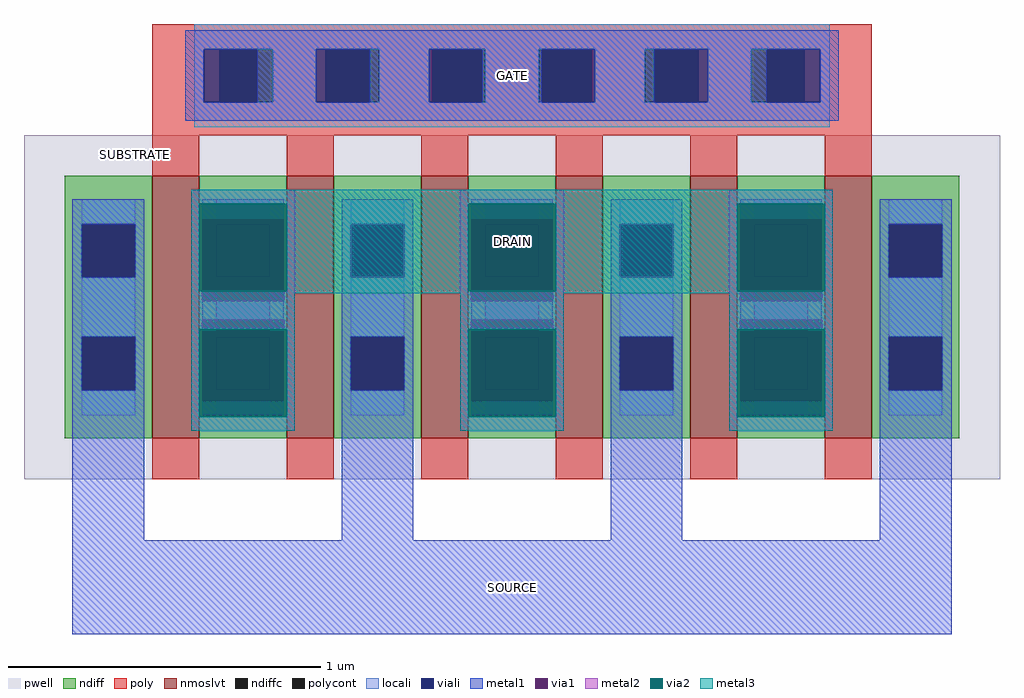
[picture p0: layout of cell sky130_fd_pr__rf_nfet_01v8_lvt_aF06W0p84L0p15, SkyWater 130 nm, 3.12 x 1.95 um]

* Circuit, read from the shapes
.subckt sky130_fd_pr__rf_nfet_01v8_lvt_aF06W0p84L0p15 DRAIN SOURCE GATE SUBSTRATE
XM1 DRAIN GATE SOURCE SUBSTRATE sky130_fd_pr__nfet_01v8_lvt w=0.84 l=0.15 m=6
.ends

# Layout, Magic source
magic
tech sky130A
magscale 1 2
<< pwell >>
rect 10 10 634 230
<< nmoslvt >>
rect 92 36 122 204
rect 178 36 208 204
rect 264 36 294 204
rect 350 36 380 204
rect 436 36 466 204
rect 522 36 552 204
<< ndiff >>
rect 36 173 92 204
rect 36 139 47 173
rect 81 139 92 173
rect 36 101 92 139
rect 36 67 47 101
rect 81 67 92 101
rect 36 36 92 67
rect 122 173 178 204
rect 122 139 133 173
rect 167 139 178 173
rect 122 101 178 139
rect 122 67 133 101
rect 167 67 178 101
rect 122 36 178 67
rect 208 173 264 204
rect 208 139 219 173
rect 253 139 264 173
rect 208 101 264 139
rect 208 67 219 101
rect 253 67 264 101
rect 208 36 264 67
rect 294 173 350 204
rect 294 139 305 173
rect 339 139 350 173
rect 294 101 350 139
rect 294 67 305 101
rect 339 67 350 101
rect 294 36 350 67
rect 380 173 436 204
rect 380 139 391 173
rect 425 139 436 173
rect 380 101 436 139
rect 380 67 391 101
rect 425 67 436 101
rect 380 36 436 67
rect 466 173 522 204
rect 466 139 477 173
rect 511 139 522 173
rect 466 101 522 139
rect 466 67 477 101
rect 511 67 522 101
rect 466 36 522 67
rect 552 173 608 204
rect 552 139 563 173
rect 597 139 608 173
rect 552 101 608 139
rect 552 67 563 101
rect 597 67 608 101
rect 552 36 608 67
<< ndiffc >>
rect 47 139 81 173
rect 47 67 81 101
rect 133 139 167 173
rect 133 67 167 101
rect 219 139 253 173
rect 219 67 253 101
rect 305 139 339 173
rect 305 67 339 101
rect 391 139 425 173
rect 391 67 425 101
rect 477 139 511 173
rect 477 67 511 101
rect 563 139 597 173
rect 563 67 597 101
<< poly >>
rect 92 285 552 301
rect 92 251 135 285
rect 169 251 203 285
rect 237 251 271 285
rect 305 251 339 285
rect 373 251 407 285
rect 441 251 475 285
rect 509 251 552 285
rect 92 230 552 251
rect 92 204 122 230
rect 178 204 208 230
rect 264 204 294 230
rect 350 204 380 230
rect 436 204 466 230
rect 522 204 552 230
rect 92 10 122 36
rect 178 10 208 36
rect 264 10 294 36
rect 350 10 380 36
rect 436 10 466 36
rect 522 10 552 36
<< polycont >>
rect 135 251 169 285
rect 203 251 237 285
rect 271 251 305 285
rect 339 251 373 285
rect 407 251 441 285
rect 475 251 509 285
<< locali >>
rect 119 285 525 301
rect 119 251 125 285
rect 169 251 197 285
rect 237 251 269 285
rect 305 251 339 285
rect 375 251 407 285
rect 447 251 475 285
rect 519 251 525 285
rect 119 235 525 251
rect 47 173 81 189
rect 47 101 81 139
rect 47 51 81 67
rect 133 173 167 189
rect 133 101 167 139
rect 133 51 167 67
rect 219 173 253 189
rect 219 101 253 139
rect 219 51 253 67
rect 305 173 339 189
rect 305 101 339 139
rect 305 51 339 67
rect 391 173 425 189
rect 391 101 425 139
rect 391 51 425 67
rect 477 173 511 189
rect 477 101 511 139
rect 477 51 511 67
rect 563 173 597 189
rect 563 101 597 139
rect 563 51 597 67
<< viali >>
rect 125 251 135 285
rect 135 251 159 285
rect 197 251 203 285
rect 203 251 231 285
rect 269 251 271 285
rect 271 251 303 285
rect 341 251 373 285
rect 373 251 375 285
rect 413 251 441 285
rect 441 251 447 285
rect 485 251 509 285
rect 509 251 519 285
rect 47 139 81 173
rect 47 67 81 101
rect 133 139 167 173
rect 133 67 167 101
rect 219 139 253 173
rect 219 67 253 101
rect 305 139 339 173
rect 305 67 339 101
rect 391 139 425 173
rect 391 67 425 101
rect 477 139 511 173
rect 477 67 511 101
rect 563 139 597 173
rect 563 67 597 101
<< metal1 >>
rect 113 285 531 297
rect 113 251 125 285
rect 159 251 197 285
rect 231 251 269 285
rect 303 251 341 285
rect 375 251 413 285
rect 447 251 485 285
rect 519 251 531 285
rect 113 239 531 251
rect 41 173 87 189
rect 41 139 47 173
rect 81 139 87 173
rect 41 101 87 139
rect 41 67 47 101
rect 81 67 87 101
rect 41 -29 87 67
rect 124 176 176 189
rect 124 112 176 124
rect 124 51 176 60
rect 213 173 259 189
rect 213 139 219 173
rect 253 139 259 173
rect 213 101 259 139
rect 213 67 219 101
rect 253 67 259 101
rect 213 -29 259 67
rect 296 176 348 189
rect 296 112 348 124
rect 296 51 348 60
rect 385 173 431 189
rect 385 139 391 173
rect 425 139 431 173
rect 385 101 431 139
rect 385 67 391 101
rect 425 67 431 101
rect 385 -29 431 67
rect 468 176 520 189
rect 468 112 520 124
rect 468 51 520 60
rect 557 173 603 189
rect 557 139 563 173
rect 597 139 603 173
rect 557 101 603 139
rect 557 67 563 101
rect 597 67 603 101
rect 557 -29 603 67
rect 41 -89 603 -29
<< via1 >>
rect 124 173 176 176
rect 124 139 133 173
rect 133 139 167 173
rect 167 139 176 173
rect 124 124 176 139
rect 124 101 176 112
rect 124 67 133 101
rect 133 67 167 101
rect 167 67 176 101
rect 124 60 176 67
rect 296 173 348 176
rect 296 139 305 173
rect 305 139 339 173
rect 339 139 348 173
rect 296 124 348 139
rect 296 101 348 112
rect 296 67 305 101
rect 305 67 339 101
rect 339 67 348 101
rect 296 60 348 67
rect 468 173 520 176
rect 468 139 477 173
rect 477 139 511 173
rect 511 139 520 173
rect 468 124 520 139
rect 468 101 520 112
rect 468 67 477 101
rect 477 67 511 101
rect 511 67 520 101
rect 468 60 520 67
<< metal2 >>
rect 117 186 183 195
rect 117 130 122 186
rect 178 130 183 186
rect 117 124 124 130
rect 176 124 183 130
rect 117 112 183 124
rect 117 106 124 112
rect 176 106 183 112
rect 117 50 122 106
rect 178 50 183 106
rect 117 41 183 50
rect 289 186 355 195
rect 289 130 294 186
rect 350 130 355 186
rect 289 124 296 130
rect 348 124 355 130
rect 289 112 355 124
rect 289 106 296 112
rect 348 106 355 112
rect 289 50 294 106
rect 350 50 355 106
rect 289 41 355 50
rect 461 186 527 195
rect 461 130 466 186
rect 522 130 527 186
rect 461 124 468 130
rect 520 124 527 130
rect 461 112 527 124
rect 461 106 468 112
rect 520 106 527 112
rect 461 50 466 106
rect 522 50 527 106
rect 461 41 527 50
<< via2 >>
rect 122 176 178 186
rect 122 130 124 176
rect 124 130 176 176
rect 176 130 178 176
rect 122 60 124 106
rect 124 60 176 106
rect 176 60 178 106
rect 122 50 178 60
rect 294 176 350 186
rect 294 130 296 176
rect 296 130 348 176
rect 348 130 350 176
rect 294 60 296 106
rect 296 60 348 106
rect 348 60 350 106
rect 294 50 350 60
rect 466 176 522 186
rect 466 130 468 176
rect 468 130 520 176
rect 520 130 522 176
rect 466 60 468 106
rect 468 60 520 106
rect 520 60 522 106
rect 466 50 522 60
<< metal3 >>
rect 117 186 527 195
rect 117 130 122 186
rect 178 130 294 186
rect 350 130 466 186
rect 522 130 527 186
rect 117 129 527 130
rect 117 106 183 129
rect 117 50 122 106
rect 178 50 183 106
rect 117 41 183 50
rect 289 106 355 129
rect 289 50 294 106
rect 350 50 355 106
rect 289 41 355 50
rect 461 106 527 129
rect 461 50 466 106
rect 522 50 527 106
rect 461 41 527 50
<< labels >>
flabel metal3 s 117 129 527 195 0 FreeSans 400 0 0 0 DRAIN
port 1 nsew
flabel metal1 s 41 -89 603 -29 0 FreeSans 400 0 0 0 SOURCE
port 2 nsew
flabel metal1 s 113 239 531 297 0 FreeSans 400 0 0 0 GATE
port 3 nsew
flabel pwell s 73 210 89 225 0 FreeSans 200 0 0 0 SUBSTRATE
port 4 nsew
<< properties >>
string GDS_FILE $PDKPATH/libs.ref/sky130_fd_pr/gds/sky130_fd_pr.gds
string GDS_END 5909170
string GDS_START 5899892
string path 1.600 4.725 1.600 -2.225 
<< end >>
